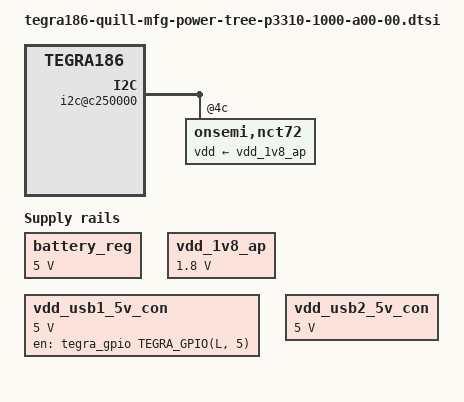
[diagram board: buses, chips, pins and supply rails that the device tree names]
/*
 * Copyright (c) 2015-2016, NVIDIA CORPORATION.  All rights reserved.
 *
 * This program is free software; you can redistribute it and/or modify
 * it under the terms of the GNU General Public License as published by
 * the Free Software Foundation; either version 2 of the License, or
 * (at your option) any later version.
 *
 * This program is distributed in the hope that it will be useful, but WITHOUT
 * ANY WARRANTY; without even the implied warranty of MERCHANTABILITY or
 * FITNESS FOR A PARTICULAR PURPOSE.  See the GNU General Public License for
 * more details.
 *
 */

#include "tegra186-quill-spmic-p3310-1000-a00-00.dtsi"
#include "tegra186-cvb-slt-p2598-a00-e3340-1099-a00-00.dtsi"

/ {

	fixed-regulators {
		battery_reg: regulator@0 {
			compatible = "regulator-fixed";
			reg = <0>;
			regulator-name = "vdd-ac-bat";
			regulator-min-microvolt = <5000000>;
			regulator-max-microvolt = <5000000>;
			regulator-always-on;
		};

		vdd_1v8_ap: regulator@1 {
			compatible = "regulator-fixed";
			reg = <101>;
			regulator-name = "vdd-1v8-ap";
			regulator-min-microvolt = <1800000>;
			regulator-max-microvolt = <1800000>;
			regulator-always-on;
			regulator-boot-on;
		};

		vdd_usb1_5v_con: regulator@113 {
			compatible = "regulator-fixed";
			reg = <113>;
			regulator-name = "vdd-usb1-5v-con";
			regulator-min-microvolt = <5000000>;
			regulator-max-microvolt = <5000000>;
			gpio = <&tegra_gpio TEGRA_GPIO(L, 5) 0>;
			enable-active-high;
		};

		vdd_usb2_5v_con: regulator@114 {
			compatible = "regulator-fixed";
			reg = <114>;
			regulator-name = "vdd-usb2-5v-con";
			regulator-min-microvolt = <5000000>;
			regulator-max-microvolt = <5000000>;
		};
	};

	ether_qos@2490000 {
		vddio_sys_enet_bias-supply = <&spmic_sd2>;
		vddio_enet-supply = <&spmic_sd3>;
		phy_vdd_1v8-supply = <&spmic_sd2>;
		phy_ovdd_rgmii-supply = <&spmic_sd3>;
		phy_pllvdd-supply = <&spmic_sd1>;
	};

	host1x {
		nvdisplay@15200000 {
			avdd_lcd-supply = <&vdd_dis_3v3_lcd>;
			dvdd_lcd-supply = <&vdd_lcd_1v8_dis>;
			avdd_dsi_csi-supply = <&spmic_sd1>;
		};
		nvdisplay@15210000 {
			avdd_hdmi-supply = <&spmic_ldo7>;
			avdd_hdmi_pll-supply = <&spmic_sd2>;
			vdd_hdmi_5v0-supply = <&vddio_5v0_hdmi>;
		};
	};

	sdhci@3460000 {
		vddio_sdmmc-supply = <&spmic_sd2>;
		vddio_sd_slot-supply = <&spmic_sd3>;
		vqmmc-supply = <&spmic_sd2>;
		vmmc-supply = <&spmic_sd3>;
	};

	sdhci@3440000 {
		vddio_sdmmc-supply = <&spmic_ldo5>;
		vddio_sd_slot-supply = <&spmic_sd2>;
		vqmmc-supply = <&spmic_ldo5>;
		vmmc-supply = <&spmic_sd2>;
	};

	sdhci@3420000 {
		vddio_sdmmc-supply = <&spmic_sd2>;
		vddio_sd_slot-supply = <&spmic_sd3>;
		vqmmc-supply = <&spmic_sd2>;
		vmmc-supply = <&spmic_sd3>;
	};

	sdhci@3400000 {
		vddio_sdmmc-supply = <&spmic_ldo3>;
		vmmc-supply = <&spmic_ldo3>;
	};

	xhci@3530000 {
		avddio_usb-supply = <&spmic_sd3>;
		avdd_pll_utmip-supply = <&spmic_sd2>;
		hvdd_usb-supply =  <&spmic_sd2>;
	};

	xudc@3550000 {
		avdd-usb-supply = <&spmic_sd3>;
		dvdd-pex-supply = <&spmic_ldo7>;
		hvdd-pex-supply =  <&spmic_sd2>;
		dvdd-pex-pll-supply = <&spmic_ldo7>;
		hvdd-pex-pll-supply = <&spmic_sd2>;
	};

	pinctrl@3520000 {
		vbus-0-supply = <&vdd_usb0_5v_con>;
		vbus-1-supply = <&vdd_usb1_5v_con>;
		vbus-2-supply = <&vdd_usb2_5v_con>;
		vbus-3-supply = <&vdd_usb2_5v_con>;
		vddio-hsic-supply = <&vdd_usb2_5v_con>;
		hvdd_pex_pll-supply = <&spmic_sd2>;
		hvdd_pex-supply = <&spmic_sd2>;
		dvdd_pex-supply = <&spmic_ldo7>;
		avdd_usb-supply = <&spmic_sd3>;
		vclamp_usb-supply = <&spmic_sd2>;
		avdd_pll_erefeut-supply = <&spmic_sd2>;
	};

	pcie-controller@10003000 {
		dvdd-pex-supply = <&spmic_ldo7>;
		hvdd-pex-pll-supply = <&spmic_sd2>;
		hvdd-pex-supply = <&spmic_sd2>;
		vddio-pexctl-aud-supply = <&spmic_sd2>;
	};

	i2c@c250000 {
		onsemi,nct72@4c {
			vdd-supply = <&vdd_1v8_ap>;
		};
	};

};
